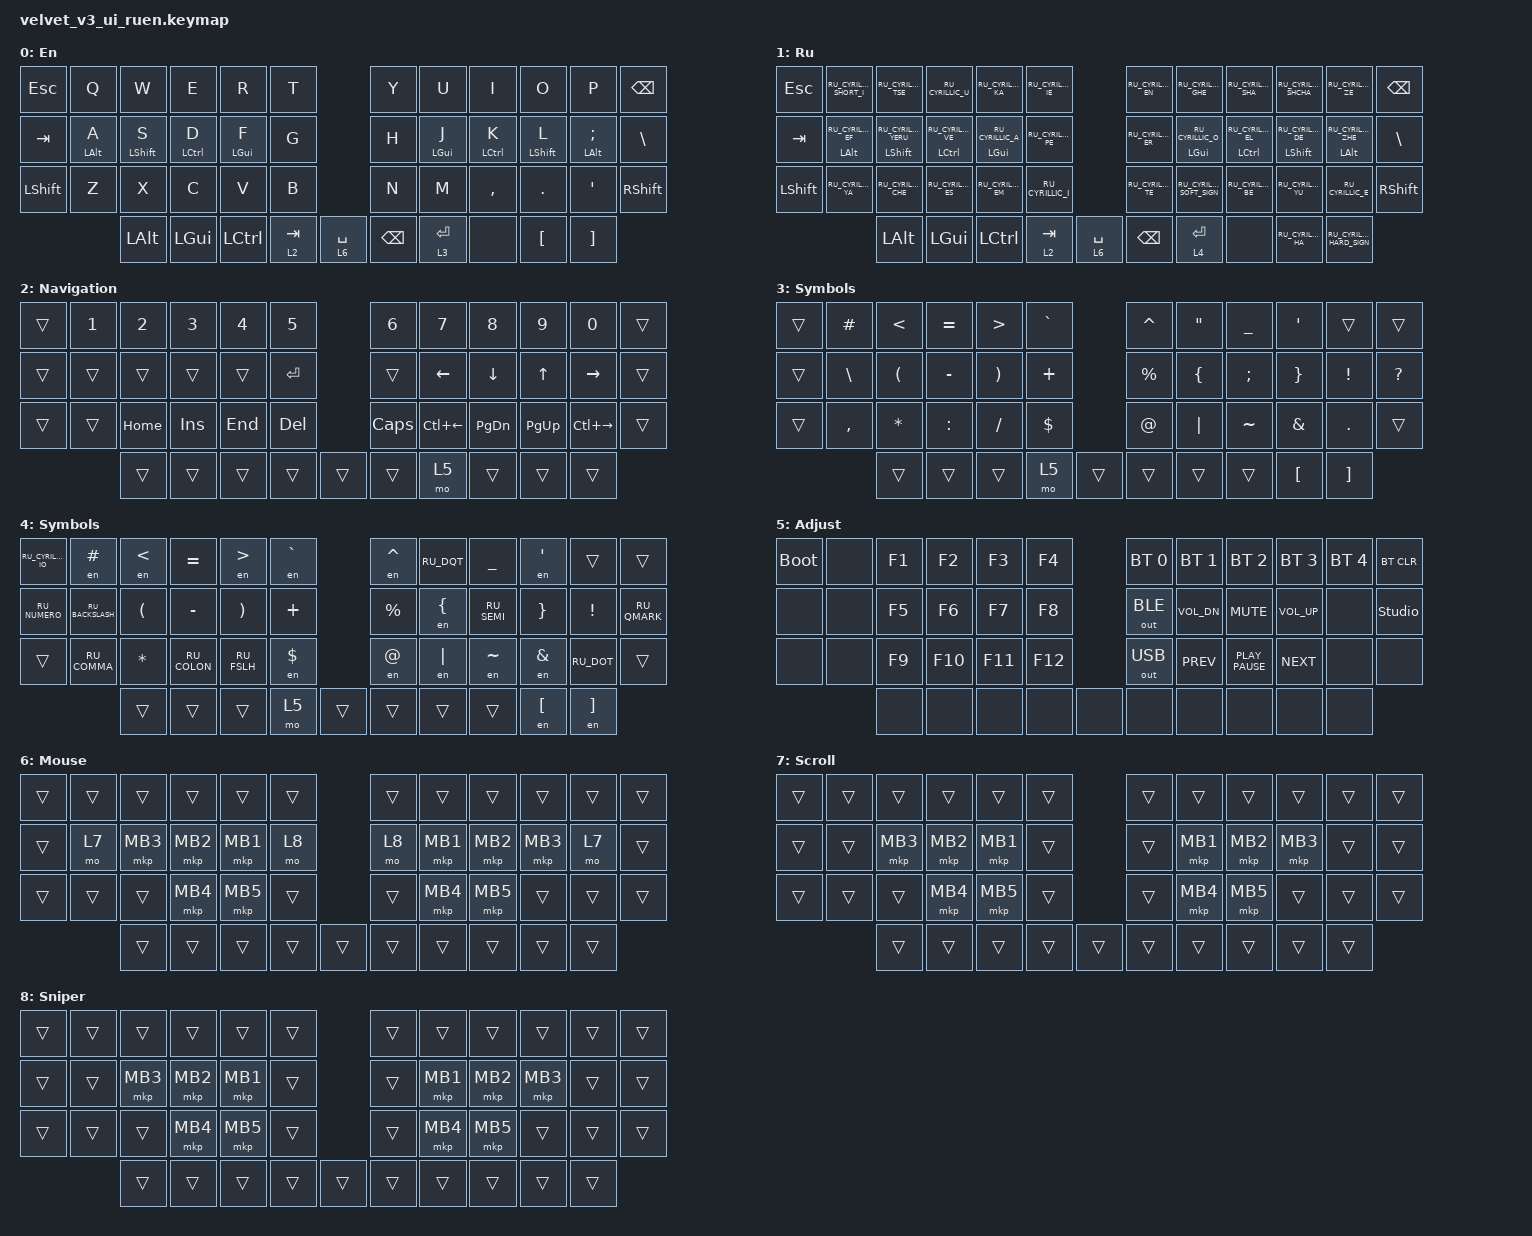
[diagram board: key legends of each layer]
#include "keys_ru.h"
#include <dt-bindings/zmk/input_transform.h>
#include <input/processors.dtsi>
#include <zephyr/dt-bindings/input/input-event-codes.h>
#include <behaviors.dtsi>
#include <dt-bindings/zmk/bt.h>
#include <dt-bindings/zmk/keys.h>
#include <dt-bindings/zmk/outputs.h>
#include <dt-bindings/zmk/pointing.h>

/ {
    behaviors {
        cap_sen: cap_sen {
            compatible = "zmk,behavior-hold-tap";
            label = "CAP_SEN";
            bindings = <&mo>, <&mkp>;

            #binding-cells = <2>;
            tapping-term-ms = <150>;
            hold-while-undecided;
        };

        mouse_layer: mouse_layer {
            compatible = "zmk,behavior-sticky-key";
            label = "MOUSE_LAYER";
            bindings = <&mo>;
            #binding-cells = <1>;
            release-after-ms = <200>;
        };

        zip_auto_mouse: zip_auto_mouse {
            compatible = "zmk,input-processor-temp-layer";
            #input-processor-cells = <2>;
            require-prior-idle-ms = <800>;
            excluded-positions = <>;
        };

        hml: hml {
            compatible = "zmk,behavior-hold-tap";
            label = "HML";
            bindings = <&kp>, <&kp>;

            #binding-cells = <2>;
            tapping-term-ms = <280>;
            require-prior-idle-ms = <150>;
            quick-tap-ms = <175>;
            flavor = "balanced";
            hold-trigger-on-release;
            hold-trigger-key-positions = <6 7 8 9 10 11 18 19 20 21 22 23 30 31 32 33 34 35 42 43 44 45 41>;
        };

        hmr: hmr {
            compatible = "zmk,behavior-hold-tap";
            label = "HMR";
            bindings = <&kp>, <&kp>;

            #binding-cells = <2>;
            tapping-term-ms = <280>;
            require-prior-idle-ms = <150>;
            quick-tap-ms = <175>;
            flavor = "balanced";
            hold-trigger-on-release;
            hold-trigger-key-positions = <0 1 2 3 4 5 12 13 14 15 16 17 24 25 26 27 28 29 36 37 38 39 40>;
        };
    };

    combos {
        compatible = "zmk,combos";

        cmben {
            bindings = <&layer_en>;
            key-positions = <3 4>;
        };

        cmbru {
            bindings = <&layer_ru>;
            key-positions = <7 8>;
        };
    };

    macros {
        to_ru: to_ru {
            compatible = "zmk,behavior-macro";
            #binding-cells = <0>;
            bindings = <&kp LS(LC(N2))>;
            label = "TO_RU";
            wait-ms = <0>;
            tap-ms = <30>;
        };

        to_en: to_en {
            compatible = "zmk,behavior-macro";
            #binding-cells = <0>;
            bindings = <&kp LS(LC(N1))>;
            label = "TO_EN";
            wait-ms = <0>;
            tap-ms = <30>;
        };

        layer_en: layer_en {
            compatible = "zmk,behavior-macro";
            #binding-cells = <0>;
            bindings = <&to 0 &to_en>;
            label = "LAYER_EN";
            wait-ms = <0>;
            tap-ms = <30>;
        };

        layer_ru: layer_ru {
            compatible = "zmk,behavior-macro";
            #binding-cells = <0>;
            bindings = <&to 1 &to_ru>;
            label = "LAYER_RU";
            tap-ms = <30>;
            wait-ms = <0>;
        };

        en: en {
            compatible = "zmk,behavior-macro-one-param";
            #binding-cells = <1>;
            bindings =
                <&to_en>,
                <&macro_press>,
                <&macro_param_1to1 &kp MACRO_PLACEHOLDER>,
                <&macro_pause_for_release>,
                <&macro_release>,
                <&macro_param_1to1 &kp MACRO_PLACEHOLDER>,
                <&macro_tap>,
                <&to_ru>;

            label = "EN";
            wait-ms = <0>;
            tap-ms = <30>;
        };
    };

    keymap {
        compatible = "zmk,keymap";

        en {
            bindings = <
&kp ESC    &kp Q            &kp W              &kp E                &kp R            &kp T                                    &kp Y        &kp U            &kp I                &kp O              &kp P               &kp BSPC
&kp TAB    &hml LEFT_ALT A  &hml LEFT_SHIFT S  &hml LEFT_CONTROL D  &hml LEFT_GUI F  &kp G                                    &kp H        &hmr LEFT_GUI J  &hmr LEFT_CONTROL K  &hmr LEFT_SHIFT L  &hmr LEFT_ALT SEMI  &kp BSLH
&kp LSHFT  &kp Z            &kp X              &kp C                &kp V            &kp B                                    &kp N        &kp M            &kp COMMA            &kp DOT            &kp SQT             &kp RSHFT
                            &kp LALT           &kp LGUI             &kp LCTRL        &lt 2 TAB  &lt 6 SPACE    &kp BACKSPACE  &lt 3 ENTER  &none            &kp LBKT             &kp RBKT
            >;

            display-name = "En";
        };

        ru {
            display-name = "Ru";
            bindings = <
&kp ESC    &kp RU_CYRILLIC_SHORT_I       &kp RU_CYRILLIC_TSE               &kp RU_CYRILLIC_U                 &kp RU_CYRILLIC_KA           &kp RU_CYRILLIC_IE                                &kp RU_CYRILLIC_EN  &kp RU_CYRILLIC_GHE          &kp RU_CYRILLIC_SHA               &kp RU_CYRILLIC_SHCHA           &kp RU_CYRILLIC_ZE             &kp BSPC
&kp TAB    &hml LEFT_ALT RU_CYRILLIC_EF  &hml LEFT_SHIFT RU_CYRILLIC_YERU  &hml LEFT_CONTROL RU_CYRILLIC_VE  &hml LEFT_GUI RU_CYRILLIC_A  &kp RU_CYRILLIC_PE                                &kp RU_CYRILLIC_ER  &hmr LEFT_GUI RU_CYRILLIC_O  &hmr LEFT_CONTROL RU_CYRILLIC_EL  &hmr LEFT_SHIFT RU_CYRILLIC_DE  &hmr LEFT_ALT RU_CYRILLIC_ZHE  &kp BSLH
&kp LSHFT  &kp RU_CYRILLIC_YA            &kp RU_CYRILLIC_CHE               &kp RU_CYRILLIC_ES                &kp RU_CYRILLIC_EM           &kp RU_CYRILLIC_I                                 &kp RU_CYRILLIC_TE  &kp RU_CYRILLIC_SOFT_SIGN    &kp RU_CYRILLIC_BE                &kp RU_CYRILLIC_YU              &kp RU_CYRILLIC_E              &kp RSHFT
                                         &kp LALT                          &kp LGUI                          &kp LCTRL                    &lt 2 TAB           &lt 6 SPACE    &kp BACKSPACE  &lt 4 ENTER         &none                        &kp RU_CYRILLIC_HA                &kp RU_CYRILLIC_HARD_SIGN
            >;
        };

        nav {
            bindings = <
&trans  &kp N1  &kp N2    &kp N3   &kp N4   &kp N5                     &kp N6    &kp N7        &kp N8         &kp N9       &kp N0         &trans
&trans  &trans  &trans    &trans   &trans   &kp RET                    &trans    &kp LEFT      &kp DOWN       &kp UP       &kp RIGHT      &trans
&trans  &trans  &kp HOME  &kp INS  &kp END  &kp DEL                    &kp CLCK  &kp LC(LEFT)  &kp PAGE_DOWN  &kp PAGE_UP  &kp LC(RIGHT)  &trans
                &trans    &trans   &trans   &trans   &trans    &trans  &mo 5     &trans        &trans         &trans
            >;

            display-name = "Navigation";
        };

        sym_en {
            bindings = <
&trans  &kp HASH   &kp LT    &kp EQUAL  &kp GT    &kp GRAVE                    &kp CARET  &kp DQT   &kp UNDER  &kp SQT   &trans    &trans
&trans  &kp BSLH   &kp LPAR  &kp MINUS  &kp RPAR  &kp PLUS                     &kp PRCNT  &kp LBRC  &kp SEMI   &kp RBRC  &kp EXCL  &kp QUESTION
&trans  &kp COMMA  &kp STAR  &kp COLON  &kp FSLH  &kp DLLR                     &kp AT     &kp PIPE  &kp TILDE  &kp AMPS  &kp DOT   &trans
                   &trans    &trans     &trans    &mo 5      &trans    &trans  &trans     &trans    &kp LBKT   &kp RBKT
            >;

            display-name = "Symbols";
        };

        sym_ru {
            display-name = "Symbols";
            bindings = <
&kp RU_CYRILLIC_IO  &en HASH          &en LT    &kp EQUAL     &en GT       &en GRAVE                    &en CARET  &kp RU_DQT  &kp UNDER    &en SQT   &trans      &trans
&kp RU_NUMERO       &kp RU_BACKSLASH  &kp LPAR  &kp MINUS     &kp RPAR     &kp PLUS                     &kp PRCNT  &en LBRC    &kp RU_SEMI  &kp RBRC  &kp EXCL    &kp RU_QMARK
&trans              &kp RU_COMMA      &kp STAR  &kp RU_COLON  &kp RU_FSLH  &en DLLR                     &en AT     &en PIPE    &en TILDE    &en AMPS  &kp RU_DOT  &trans
                                      &trans    &trans        &trans       &mo 5      &trans    &trans  &trans     &trans      &en LBKT     &en RBKT
            >;
        };

        adj {
            bindings = <
&bootloader  &none  &kp F1  &kp F2   &kp F3   &kp F4                   &bt BT_SEL 0  &bt BT_SEL 1  &bt BT_SEL 2      &bt BT_SEL 3  &bt BT_SEL 4  &bt BT_CLR
&none        &none  &kp F5  &kp F6   &kp F7   &kp F8                   &out OUT_BLE  &kp C_VOL_DN  &kp K_MUTE        &kp C_VOL_UP  &none         &studio_unlock
&none        &none  &kp F9  &kp F10  &kp F11  &kp F12                  &out OUT_USB  &kp K_PREV    &kp K_PLAY_PAUSE  &kp K_NEXT    &none         &none
                    &none   &none    &none    &none    &none    &none  &none         &none         &none             &none
            >;

            display-name = "Adjust";
        };

        mouse {
            bindings = <
&trans  &trans  &trans    &trans    &trans    &trans                    &trans  &trans    &trans    &trans    &trans  &trans
&trans  &mo 7   &mkp MB3  &mkp MB2  &mkp MB1  &mo 8                     &mo 8   &mkp MB1  &mkp MB2  &mkp MB3  &mo 7   &trans
&trans  &trans  &trans    &mkp MB4  &mkp MB5  &trans                    &trans  &mkp MB4  &mkp MB5  &trans    &trans  &trans
                &trans    &trans    &trans    &trans  &trans    &trans  &trans  &trans    &trans    &trans
            >;

            display-name = "Mouse";
        };

        scroll {
            bindings = <
&trans  &trans  &trans    &trans    &trans    &trans                    &trans  &trans    &trans    &trans    &trans  &trans
&trans  &trans  &mkp MB3  &mkp MB2  &mkp MB1  &trans                    &trans  &mkp MB1  &mkp MB2  &mkp MB3  &trans  &trans
&trans  &trans  &trans    &mkp MB4  &mkp MB5  &trans                    &trans  &mkp MB4  &mkp MB5  &trans    &trans  &trans
                &trans    &trans    &trans    &trans  &trans    &trans  &trans  &trans    &trans    &trans
            >;

            display-name = "Scroll";
        };

        sniper {
            bindings = <
&trans  &trans  &trans    &trans    &trans    &trans                    &trans  &trans    &trans    &trans    &trans  &trans
&trans  &trans  &mkp MB3  &mkp MB2  &mkp MB1  &trans                    &trans  &mkp MB1  &mkp MB2  &mkp MB3  &trans  &trans
&trans  &trans  &trans    &mkp MB4  &mkp MB5  &trans                    &trans  &mkp MB4  &mkp MB5  &trans    &trans  &trans
                &trans    &trans    &trans    &trans  &trans    &trans  &trans  &trans    &trans    &trans
            >;

            display-name = "Sniper";
        };
    };
};

&trackball { cpi = <1000>; };

&trackball_listener {
    input-processors = <&zip_xy_scaler 9 20>;

    scroller {
        layers = <7>;
        input-processors =
            <&zip_xy_transform INPUT_TRANSFORM_Y_INVERT>,
            <&zip_xy_scaler 1 32>,
            <&zip_xy_to_scroll_mapper>;
    };

    sniper {
        layers = <8>;
        input-processors = <&zip_xy_scaler 1 4>;
    };
};
